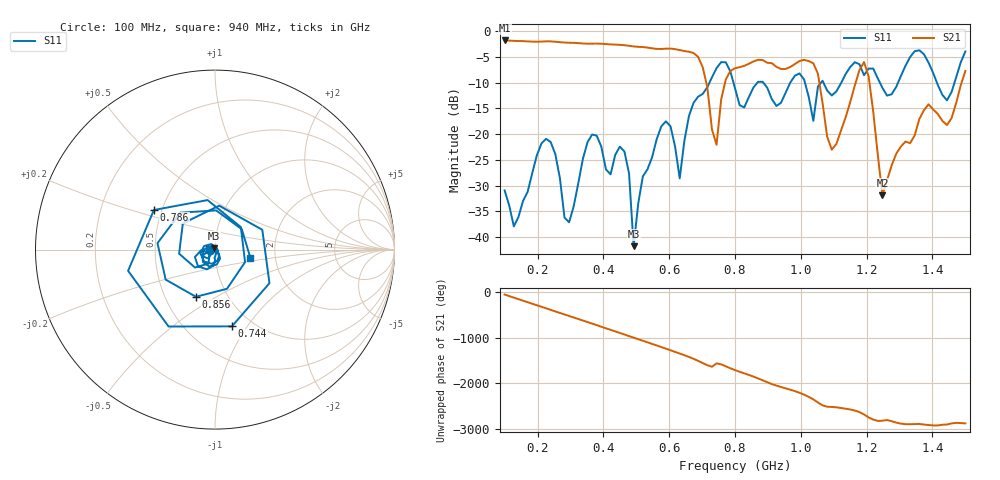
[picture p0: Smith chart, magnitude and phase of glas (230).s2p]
! NanoVNA-App
! Date: 2025-09-25 15:57:15
! Start: 100MHz Stop: 1,5GHz Points: 101
! S-Parameter data: F S11 S21 S12 S22
# Hz S RI R 50
!  Frequency  S11_Real  S11_Imag  S21_Real  S21_Imag  S12_Real  S12_Imag  S22_Real  S22_Imag
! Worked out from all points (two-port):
!   101 points, 100 MHz to 1.5 GHz, reference 50 ohm
!   highest |S21| = -1.80 dB at 100 MHz (marker M1); lowest = -31.9 dB at 1.248 GHz (marker M2)
!   |S21| within 3 dB of the highest: start of sweep to 684.3 MHz
!   lowest |S11| = -41.8 dB at 492 MHz (marker M3), VSWR 1.02, Z = 49.5 + j0.638 ohm
!   |S11| at or under -10 dB: start of sweep to 722.4 MHz; 795.3 MHz to 868.1 MHz (72.81 MHz wide, 8.75 % of centre); 886.1 MHz to 967.8 MHz (81.77 MHz wide, 8.82 % of centre) (the widest 3 of 7)
!   S12 and S22 are empty: the file has one direction only
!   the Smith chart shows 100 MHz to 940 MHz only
!   S11 on the Smith chart (normalised r, x): 100 MHz: 0.95, -0.01; 744 MHz: 0.81, -0.85; 786 MHz: 0.45, +0.24; 856 MHz: 0.71, -0.41; 940 MHz: 1.48, -0.14
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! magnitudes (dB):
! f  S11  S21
! 100 MHz  -30.9  -1.8
! 128 MHz  -37.9  -1.9
! 226 MHz  -20.9  -2.0
! 296 MHz  -37.1  -2.2
! 338 MHz  -24.8  -2.4
! 464 MHz  -23.4  -2.7
! 492 MHz  -41.8  -3.0
! 576 MHz  -18.5  -3.5
! 632 MHz  -28.6  -3.7
! 702 MHz  -12.2  -7.0
! 744 MHz  -7.2  -22.1
! 786 MHz  -7.8  -7.7
! 800 MHz  -11.1  -7.2
! 856 MHz  -10.9  -5.9
! 940 MHz  -13.9  -7.3
! 996 MHz  -8.2  -5.8
! 1.038 GHz  -17.4  -6.2
! 1.094 GHz  -12.5  -23.0
! 1.192 GHz  -8.6  -6.0
! 1.248 GHz  -11.0  -31.9
! 1.276 GHz  -12.3  -26.1
! 1.5 GHz  -3.9  -7.7
